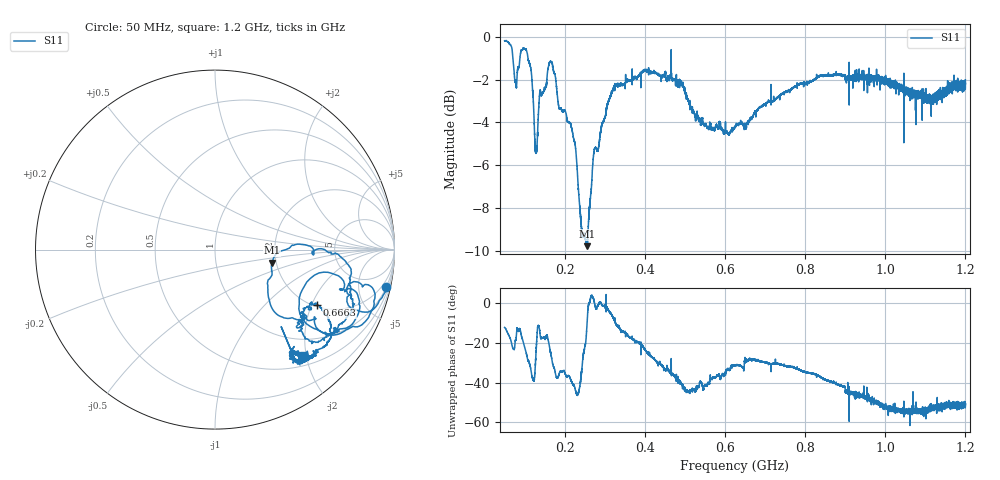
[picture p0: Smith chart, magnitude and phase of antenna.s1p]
! Calibrated NanoVNA antenna measurement, band-limited to the calibrated dynamic range
! Samples with nonfinite or |Gamma| >= 1 were excluded; see broadband-excluded.json
# Hz S RI R 50
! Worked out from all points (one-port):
!   40000 points, 50 MHz to 1.2 GHz, reference 50 ohm
!   lowest |S11| = -9.8 dB at 255 MHz (marker M1), VSWR 1.96, Z = 94.8 - j15.3 ohm
!   |S11| at or under -10 dB: nowhere
!   S11 on the Smith chart (normalised r, x): 50 MHz: 0.99, -9.20; 666.3 MHz: 2.07, -2.19; 1.2 GHz: 0.57, -1.92
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5e7  0.9552 -0.2077
6.89175e7  0.8635 -0.3445
7.62775e7  0.7383 -0.2611
8.527625e7  0.8208 -0.2059
1.003412e8  0.8656 -0.3542
1.172462e8  0.6631 -0.477
1.258138e8  0.4719 -0.3193
1.341512e8  0.6424 -0.1301
1.613775e8  0.8075 -0.3141
1.750338e8  0.6826 -0.4526
1.9375e8  0.5528 -0.3779
2.275888e8  0.3888 -0.3809
2.386e8  0.2966 -0.2547
2.550162e8  0.3171 -0.0721
2.642738e8  0.4227 0.0162
2.743938e8  0.547 -0.00124
3.18985e8  0.7435 -0.085
3.375e8  0.7542 -0.172
3.996e8  0.7676 -0.3256
4.8125e8  0.6165 -0.4873
5.120412e8  0.4946 -0.4852
5.502788e8  0.4695 -0.4156
6.25e8  0.5274 -0.3202
6.662562e8  0.5676 -0.308
7.6875e8  0.6418 -0.4033
9.125e8  0.5617 -0.5579
1.05625e9  0.4234 -0.6103
1.2e9  0.4881 -0.6247
